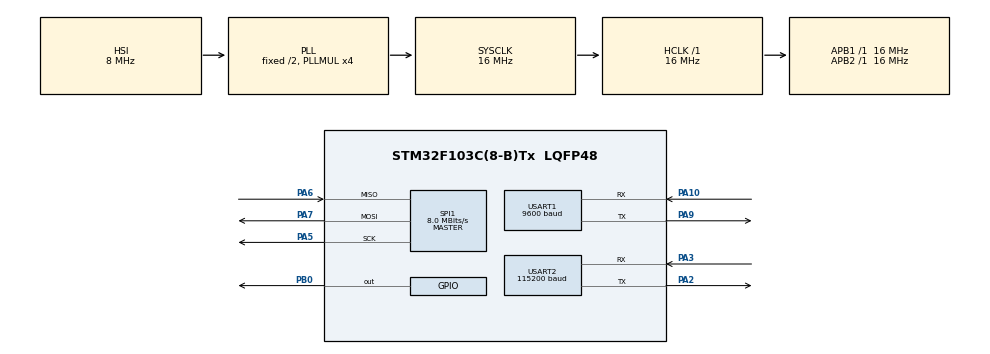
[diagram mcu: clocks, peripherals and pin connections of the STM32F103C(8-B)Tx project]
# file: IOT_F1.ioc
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Mcu.Family=STM32F1
Mcu.Name=STM32F103C(8-B)Tx
Mcu.Package=LQFP48
NVIC.PriorityGroup=NVIC_PRIORITYGROUP_4
NVIC.USART2_IRQn=true\:0\:0\:false\:false\:true\:true\:true\:true
PA10.Mode=Asynchronous
PA10.Signal=USART1_RX
PA13.Mode=Serial_Wire
PA13.Signal=SYS_JTMS-SWDIO
PA14.Mode=Serial_Wire
PA14.Signal=SYS_JTCK-SWCLK
PA2.Mode=Asynchronous
PA2.Signal=USART2_TX
PA3.Mode=Asynchronous
PA3.Signal=USART2_RX
PA5.Mode=Full_Duplex_Master
PA5.Signal=SPI1_SCK
PA6.Mode=Full_Duplex_Master
PA6.Signal=SPI1_MISO
PA7.Mode=Full_Duplex_Master
PA7.Signal=SPI1_MOSI
PA9.Mode=Asynchronous
PA9.Signal=USART1_TX
PB0.Signal=GPIO_Output
PD0-OSC_IN.Mode=HSE-External-Oscillator
PD0-OSC_IN.Signal=RCC_OSC_IN
PD1-OSC_OUT.Mode=HSE-External-Oscillator
PD1-OSC_OUT.Signal=RCC_OSC_OUT
ProjectManager.HeapSize=0x200
ProjectManager.StackSize=0x400
ProjectManager.TargetToolchain=MDK-ARM V5.32
RCC.AHBFreq_Value=16000000
RCC.APB1Freq_Value=16000000
RCC.APB1TimFreq_Value=16000000
RCC.APB2Freq_Value=16000000
RCC.APB2TimFreq_Value=16000000
RCC.HCLKFreq_Value=16000000
RCC.PLLMUL=RCC_PLL_MUL4
RCC.SYSCLKFreq_VALUE=16000000
RCC.SYSCLKSource=RCC_SYSCLKSOURCE_PLLCLK
RCC.USBFreq_Value=16000000
SPI1.CalculateBaudRate=8.0 MBits/s
SPI1.Direction=SPI_DIRECTION_2LINES
SPI1.Mode=SPI_MODE_MASTER
SPI1.VirtualType=VM_MASTER
USART1.BaudRate=9600
USART1.VirtualMode=VM_ASYNC
USART2.BaudRate=115200
USART2.VirtualMode=VM_ASYNC
board=custom

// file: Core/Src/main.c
/* USER CODE BEGIN Header */
/**
  ******************************************************************************
  * @file           : main.c
  * @brief          : Main program body
  ******************************************************************************
  * @attention
  *
  * Copyright (c) 2026 STMicroelectronics.
  * All rights reserved.
  *
  * This software is licensed under terms that can be found in the LICENSE file
  * in the root directory of this software component.
  * If no LICENSE file comes with this software, it is provided AS-IS.
  *
  ******************************************************************************
  */
/* USER CODE END Header */
#include "main.h"

/* USER CODE BEGIN Includes */
#include "RC522.h"
#include "DFPLAYER.h"
#include <string.h>
#include <stdio.h>

/* USER CODE END Includes */

/* USER CODE BEGIN PTD */
DFPLAYER_Name MP3;

/* USER CODE END PTD */

/* USER CODE BEGIN PD */
uint8_t u8_RxBuff1[50];  // Buffer cho UART1 (Camera)
uint8_t u8_RxBuff2[50];  // Buffer cho UART2 (ESP32)
uint8_t u8_RxBuff3[50];  // loa

uint8_t u8_RxData1;      // Byte nh?n c?a esp
uint8_t u8_RxData2;      // Byte nh?n c?a Camera
uint8_t u8_RxData3;      // Byte nhan cua loa

uint8_t _rxIndex1 = 0;   // Index cho UART1
uint8_t _rxIndex2 = 0;   // Index cho UART2
uint8_t _rxIndex3 = 0;   // Index cho UART3

volatile uint8_t Tx_Flag1 = 0;
volatile uint8_t Tx_Flag2 = 0;
volatile uint8_t Tx_Flag3 = 0;
/* USER CODE END PD */

SPI_HandleTypeDef hspi1;

UART_HandleTypeDef huart1;
UART_HandleTypeDef huart2;

/* USER CODE BEGIN PV */
uint8_t CardID[5];
uint8_t rx_data[3];
char tx_buffer[50];
//uint8_t ngat =0;

/* USER CODE END PV */

void SystemClock_Config(void);
static void MX_GPIO_Init(void);
static void MX_SPI1_Init(void);
static void MX_USART1_UART_Init(void);
static void MX_USART2_UART_Init(void);

/* USER CODE BEGIN 0 */
volatile uint8_t ngat = 0;

void HAL_UART_RxCpltCallback(UART_HandleTypeDef *huart)
{
    if(huart->Instance == USART2)
    {
        // Kiểm tra xem ký tự nhận được có phải là ký tự kết thúc (\r hoặc \n) không
        if(u8_RxData1 != '\r' && u8_RxData1 != '\n')
        {
            u8_RxBuff2[_rxIndex2++] = u8_RxData1; // Lưu vào buffer UART2
            if(_rxIndex2 >= sizeof(u8_RxBuff2) - 1) {
                _rxIndex2 = sizeof(u8_RxBuff2) - 1; // Chống tràn mảng
            }
        }
        else
        {
            if(_rxIndex2 > 0)
            {
                u8_RxBuff2[_rxIndex2] = '\0'; // Kết thúc chuỗi
                Tx_Flag2 = 1;                 // SỬA Ở ĐÂY: Set cờ UART2
            }
        }
        // Gọi lại ngắt nhận 1 byte tiếp theo
        HAL_UART_Receive_IT(&huart2, &u8_RxData1, 1);
    }
}
/* USER CODE END 0 */

int main(void)
{

  /* MCU Configuration--------------------------------------------------------*/

  /* Reset of all peripherals, Initializes the Flash interface and the Systick. */
  HAL_Init();

  /* Configure the system clock */
  SystemClock_Config();

  /* Initialize all configured peripherals */
  MX_GPIO_Init();
  MX_SPI1_Init();
  MX_USART1_UART_Init();
  MX_USART2_UART_Init();
  /* USER CODE BEGIN 2 */
	  TM_MFRC522_Init();
  DFPLAYER_Init(&MP3, &huart1);
  DFPLAYER_SetVolume(&MP3, 5);
	HAL_Delay(2000);
	DFPLAYER_PlayFileInFolder(&MP3, 02, 002);
  HAL_UART_Receive_IT(&huart2, &u8_RxData1, 1);
  /* USER CODE END 2 */

  /* Infinite loop */
  while (1)
  {
   if (TM_MFRC522_Check(CardID) == MI_OK) {

              sprintf(tx_buffer, "%02X%02X%02X%02X%02X\r\n",
                      CardID[0], CardID[1], CardID[2], CardID[3], CardID[4]);
              HAL_UART_Transmit(&huart2, (uint8_t*)tx_buffer, strlen(tx_buffer), 1000);
              HAL_Delay(500);
      }
	    // XỬ LÝ NHẬN LỆNH TỪ UART2 ESP/MẠCH KHÁC
      if(Tx_Flag2 == 1)
      {
          // Dùng strcmp để so sánh toàn bộ chuỗi cho chính xác, thay vì so sánh từng ký tự
          if(strcmp((char*)u8_RxBuff2, "003") == 0) {
						// Nhận "003" thì phát loa bài 3 trong folder 3: h?c sinh cuoi cung da len xe bac tai có the di xe ve truong
              DFPLAYER_PlayFileInFolder(&MP3, 03, 003);
          }
          else if(strcmp((char*)u8_RxBuff2, "004") == 0) {
              // Nhận "004" thì phát loa bài 4 trong folder 4
              DFPLAYER_PlayFileInFolder(&MP3, 04, 004);
          }

          else if(strcmp((char*)u8_RxBuff2, "001") == 0) {
              // hs dã xu?ng het xe bac tai kiem tra lai
              DFPLAYER_PlayFileInFolder(&MP3, 01, 001);
          }
					 else if(strcmp((char*)u8_RxBuff2, "005") == 0) {
              // Nhận "001" thì phát loa bài 01 trong folder 001
              DFPLAYER_PlayFileInFolder(&MP3, 05, 005);
          }
					 else if(strcmp((char*)u8_RxBuff2, "002") == 0) {
						 // Nhận "002" thì phát loa bài 002 trong folder 02: b?t dau khoi hanh
              DFPLAYER_PlayFileInFolder(&MP3, 02, 002);
          }

          // QUAN TRỌNG: Xóa cờ, reset Index và xóa bộ đệm để chờ nhận lệnh tiếp theo
          Tx_Flag2 = 0;
          _rxIndex2 = 0;
          memset(u8_RxBuff2, 0, sizeof(u8_RxBuff2));
      }

  }
}

void SystemClock_Config(void)
{
  RCC_OscInitTypeDef RCC_OscInitStruct = {0};
  RCC_ClkInitTypeDef RCC_ClkInitStruct = {0};

  /** Initializes the RCC Oscillators according to the specified parameters
  * in the RCC_OscInitTypeDef structure.
  */
  RCC_OscInitStruct.OscillatorType = RCC_OSCILLATORTYPE_HSI;
  RCC_OscInitStruct.HSIState = RCC_HSI_ON;
  RCC_OscInitStruct.HSICalibrationValue = RCC_HSICALIBRATION_DEFAULT;
  RCC_OscInitStruct.PLL.PLLState = RCC_PLL_ON;
  RCC_OscInitStruct.PLL.PLLSource = RCC_PLLSOURCE_HSI_DIV2;
  RCC_OscInitStruct.PLL.PLLMUL = RCC_PLL_MUL4;
  if (HAL_RCC_OscConfig(&RCC_OscInitStruct) != HAL_OK)
  {
    Error_Handler();
  }

  /** Initializes the CPU, AHB and APB buses clocks
  */
  RCC_ClkInitStruct.ClockType = RCC_CLOCKTYPE_HCLK|RCC_CLOCKTYPE_SYSCLK
                              |RCC_CLOCKTYPE_PCLK1|RCC_CLOCKTYPE_PCLK2;
  RCC_ClkInitStruct.SYSCLKSource = RCC_SYSCLKSOURCE_PLLCLK;
  RCC_ClkInitStruct.AHBCLKDivider = RCC_SYSCLK_DIV1;
  RCC_ClkInitStruct.APB1CLKDivider = RCC_HCLK_DIV1;
  RCC_ClkInitStruct.APB2CLKDivider = RCC_HCLK_DIV1;

  if (HAL_RCC_ClockConfig(&RCC_ClkInitStruct, FLASH_LATENCY_0) != HAL_OK)
  {
    Error_Handler();
  }
}

static void MX_SPI1_Init(void)
{

  /* SPI1 parameter configuration*/
  hspi1.Instance = SPI1;
  hspi1.Init.Mode = SPI_MODE_MASTER;
  hspi1.Init.Direction = SPI_DIRECTION_2LINES;
  hspi1.Init.DataSize = SPI_DATASIZE_8BIT;
  hspi1.Init.CLKPolarity = SPI_POLARITY_LOW;
  hspi1.Init.CLKPhase = SPI_PHASE_1EDGE;
  hspi1.Init.NSS = SPI_NSS_SOFT;
  hspi1.Init.BaudRatePrescaler = SPI_BAUDRATEPRESCALER_2;
  hspi1.Init.FirstBit = SPI_FIRSTBIT_MSB;
  hspi1.Init.TIMode = SPI_TIMODE_DISABLE;
  hspi1.Init.CRCCalculation = SPI_CRCCALCULATION_DISABLE;
  hspi1.Init.CRCPolynomial = 10;
  if (HAL_SPI_Init(&hspi1) != HAL_OK)
  {
    Error_Handler();
  }

}

static void MX_USART1_UART_Init(void)
{

  huart1.Instance = USART1;
  huart1.Init.BaudRate = 9600;
  huart1.Init.WordLength = UART_WORDLENGTH_8B;
  huart1.Init.StopBits = UART_STOPBITS_1;
  huart1.Init.Parity = UART_PARITY_NONE;
  huart1.Init.Mode = UART_MODE_TX_RX;
  huart1.Init.HwFlowCtl = UART_HWCONTROL_NONE;
  huart1.Init.OverSampling = UART_OVERSAMPLING_16;
  if (HAL_UART_Init(&huart1) != HAL_OK)
  {
    Error_Handler();
  }

}

static void MX_USART2_UART_Init(void)
{

  huart2.Instance = USART2;
  huart2.Init.BaudRate = 9600;
  huart2.Init.WordLength = UART_WORDLENGTH_8B;
  huart2.Init.StopBits = UART_STOPBITS_1;
  huart2.Init.Parity = UART_PARITY_NONE;
  huart2.Init.Mode = UART_MODE_TX_RX;
  huart2.Init.HwFlowCtl = UART_HWCONTROL_NONE;
  huart2.Init.OverSampling = UART_OVERSAMPLING_16;
  if (HAL_UART_Init(&huart2) != HAL_OK)
  {
    Error_Handler();
  }

}

static void MX_GPIO_Init(void)
{
  GPIO_InitTypeDef GPIO_InitStruct = {0};

  /* GPIO Ports Clock Enable */
  __HAL_RCC_GPIOD_CLK_ENABLE();
  __HAL_RCC_GPIOA_CLK_ENABLE();
  __HAL_RCC_GPIOB_CLK_ENABLE();

  /*Configure GPIO pin Output Level */
  HAL_GPIO_WritePin(GPIOB, GPIO_PIN_0, GPIO_PIN_RESET);

  /*Configure GPIO pin : PB0 */
  GPIO_InitStruct.Pin = GPIO_PIN_0;
  GPIO_InitStruct.Mode = GPIO_MODE_OUTPUT_PP;
  GPIO_InitStruct.Pull = GPIO_NOPULL;
  GPIO_InitStruct.Speed = GPIO_SPEED_FREQ_LOW;
  HAL_GPIO_Init(GPIOB, &GPIO_InitStruct);

}

void Error_Handler(void)
{
  __disable_irq();
  while (1)
  {
  }
}
